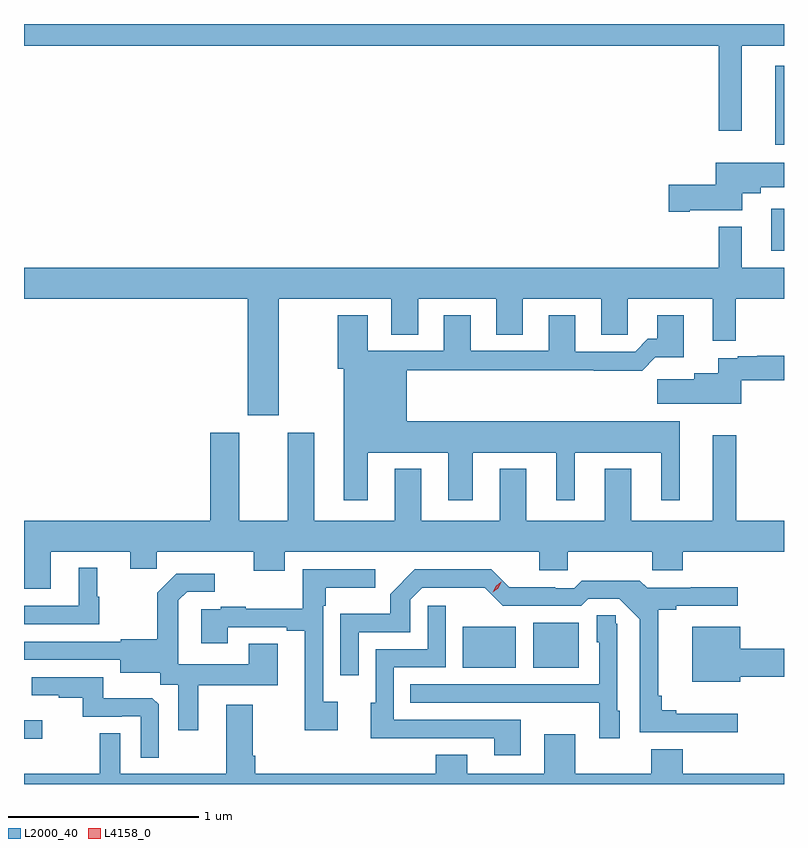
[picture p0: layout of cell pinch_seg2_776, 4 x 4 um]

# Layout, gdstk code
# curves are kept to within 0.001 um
import gdstk
lib = gdstk.Library(unit=1e-6, precision=1e-09)
def R(c, l, rs):  # rectangles x0, y0, x1, y1
    for r in rs: c.add(gdstk.rectangle(r[:2], r[2:], *l))
def P(c, l, *ps):  # polygons
    for p in ps: c.add(gdstk.Polygon(p, *l))
L2000_40 = (2000, 40)
L4158_0 = (4158, 0)

pinch_seg2_776 = lib.new_cell('pinch_seg2_776')
R(pinch_seg2_776, L2000_40, [(741.585,598.7,741.682,598.798), (743.894,599.075,744.172,599.29), (744.266,599.075,744.505,599.311), (745.517,601.269,745.585,601.489), (745.538,601.826,745.585,602.242)])
P(pinch_seg2_776, L2000_40, [(745.363,602.348),(745.585,602.348),(745.585,602.462),(741.585,602.462),(741.585,602.348),(745.242,602.348),(745.242,601.899),(745.363,601.899)],
  [(745.09,601.481),(745.366,601.481),(745.366,601.571),(745.462,601.571),(745.462,601.603),(745.585,601.603),(745.585,601.732),(745.226,601.732),(745.226,601.616),(744.978,601.616),(744.978,601.474),(745.09,601.474)],
  [(742.927,601.016),(743.519,601.016),(743.519,600.826),(743.659,600.826),(743.659,601.016),(744.071,601.016),(744.071,600.826),(744.211,600.826),(744.211,601.016),(744.623,601.016),(744.623,600.826),(744.762,600.826),(744.762,601.016),(745.211,601.016),(745.211,600.795),(745.332,600.795),(745.332,601.016),(745.585,601.016),(745.585,601.18),(745.363,601.18),(745.363,601.396),(745.242,601.396),(745.242,601.18),(741.585,601.18),(741.585,601.016),(742.763,601.016),(742.763,600.402),(742.927,600.402)],
  [(743.395,600.206),(743.819,600.206),(743.819,599.955),(743.947,599.955),(743.947,600.206),(744.386,600.206),(744.386,599.955),(744.484,599.955),(744.484,600.206),(744.938,600.206),(744.938,599.955),(745.036,599.955),(745.036,600.37),(743.599,600.37),(743.599,600.64),(744.583,600.64),(744.583,600.638),(744.839,600.638),(744.908,600.707),(745.057,600.707),(745.057,600.928),(744.917,600.928),(744.917,600.805),(744.868,600.805),(744.801,600.738),(744.487,600.738),(744.487,600.928),(744.347,600.928),(744.347,600.741),(743.935,600.741),(743.935,600.928),(743.795,600.928),(743.795,600.741),(743.395,600.741),(743.395,600.928),(743.236,600.928),(743.236,600.648),(743.267,600.648),(743.267,599.955),(743.395,599.955)],
  [(745.361,600.586),(745.585,600.586),(745.585,600.715),(745.444,600.715),(745.444,600.714),(745.342,600.714),(745.342,600.702),(745.238,600.702),(745.238,600.625),(745.112,600.625),(745.112,600.593),(744.918,600.593),(744.918,600.464),(745.361,600.464)],
  [(741.727,599.684),(742.145,599.684),(742.145,599.594),(742.283,599.594),(742.283,599.684),(742.793,599.684),(742.793,599.585),(742.957,599.585),(742.957,599.684),(744.296,599.684),(744.296,599.586),(744.447,599.586),(744.447,599.684),(744.892,599.684),(744.892,599.586),(745.052,599.586),(745.052,599.684),(745.585,599.684),(745.585,599.848),(745.333,599.848),(745.333,600.298),(745.211,600.298),(745.211,599.848),(744.781,599.848),(744.781,600.121),(744.641,600.121),(744.641,599.848),(744.229,599.848),(744.229,600.121),(744.089,600.121),(744.089,599.848),(743.677,599.848),(743.677,600.121),(743.537,600.121),(743.537,599.848),(743.113,599.848),(743.113,600.31),(742.973,600.31),(742.973,599.848),(742.717,599.848),(742.717,600.31),(742.565,600.31),(742.565,599.848),(741.585,599.848),(741.585,599.49),(741.727,599.49)],
  [(741.982,599.448),(741.97,599.448),(741.97,599.599),(741.872,599.599),(741.872,599.4),(741.585,599.4),(741.585,599.304),(741.982,599.304)],
  [(743.236,598.894),(743.16,598.894),(743.16,599.399),(743.173,599.399),(743.173,599.495),(743.434,599.495),(743.434,599.592),(743.052,599.592),(743.052,599.384),(742.753,599.384),(742.753,599.395),(742.621,599.395),(742.621,599.382),(742.517,599.382),(742.517,599.202),(742.657,599.202),(742.657,599.286),(742.967,599.286),(742.967,599.268),(743.063,599.268),(743.063,598.746),(743.236,598.746)],
  [(745.342,598.831),(745.018,598.831),(745.018,598.85),(744.941,598.85),(744.941,598.927),(744.923,598.927),(744.923,599.38),(745.018,599.38),(745.018,599.4),(745.342,599.4),(745.342,599.498),(745.095,599.498),(745.095,599.496),(744.864,599.496),(744.827,599.533),(744.52,599.533),(744.48,599.493),(744.38,599.493),(744.38,599.498),(744.14,599.498),(744.045,599.592),(743.642,599.592),(743.512,599.462),(743.512,599.359),(743.25,599.359),(743.25,599.034),(743.346,599.034),(743.346,599.262),(743.619,599.262),(743.619,599.433),(743.682,599.496),(744.011,599.495),(744.105,599.4),(744.519,599.4),(744.555,599.436),(744.718,599.436),(744.825,599.329),(744.825,598.734),(745.342,598.734)],
  [(742.501,598.982),(742.921,598.982),(742.921,599.201),(742.769,599.201),(742.769,599.092),(742.398,599.092),(742.398,599.333),(742.396,599.333),(742.396,599.428),(742.443,599.475),(742.588,599.475),(742.588,599.569),(742.387,599.569),(742.287,599.469),(742.287,599.224),(742.095,599.224),(742.095,599.211),(741.585,599.211),(741.585,599.115),(742.091,599.115),(742.091,599.048),(742.302,599.048),(742.302,598.984),(742.397,598.984),(742.397,598.746),(742.501,598.746)],
  [(744.199,598.8),(743.532,598.8),(743.532,599.076),(743.805,599.076),(743.805,599.401),(743.709,599.401),(743.709,599.172),(743.436,599.172),(743.436,598.89),(743.411,598.89),(743.411,598.703),(743.629,598.703),(743.629,598.704),(744.059,598.704),(744.059,598.614),(744.199,598.614)],
  [(744.721,598.848),(744.708,598.848),(744.708,599.305),(744.699,599.305),(744.699,599.351),(744.6,599.351),(744.6,599.208),(744.612,599.208),(744.612,598.986),(743.617,598.986),(743.617,598.89),(744.295,598.89),(744.295,598.889),(744.612,598.889),(744.612,598.704),(744.721,598.704)],
  [(745.354,599.027),(745.585,599.027),(745.585,599.174),(745.354,599.174),(745.354,599.29),(745.103,599.29),(745.103,599),(745.354,599)],
  [(742.293,598.881),(742.261,598.913),(742.003,598.913),(742.003,599.025),(741.625,599.025),(741.625,598.928),(741.769,598.928),(741.769,598.917),(741.893,598.917),(741.893,598.815),(742.1,598.815),(742.1,598.818),(742.2,598.818),(742.2,598.601),(742.293,598.601)],
  [(745.585,598.516),(745.051,598.516),(745.051,598.645),(744.887,598.645),(744.887,598.516),(744.487,598.516),(744.487,598.723),(744.323,598.723),(744.323,598.516),(743.917,598.516),(743.917,598.615),(743.753,598.615),(743.753,598.516),(742.802,598.516),(742.802,598.612),(742.789,598.612),(742.789,598.879),(742.649,598.879),(742.649,598.516),(742.092,598.516),(742.092,598.73),(741.984,598.73),(741.984,598.516),(741.585,598.516),(741.585,598.462),(745.585,598.462)])
P(pinch_seg2_776, L4158_0, [(744.051,599.47),(744.051,599.471),(744.067,599.504),(744.097,599.526),(744.098,599.526),(744.098,599.525),(744.082,599.492),(744.051,599.47)])

lib.write_gds('pinch_seg2_776.gds')
